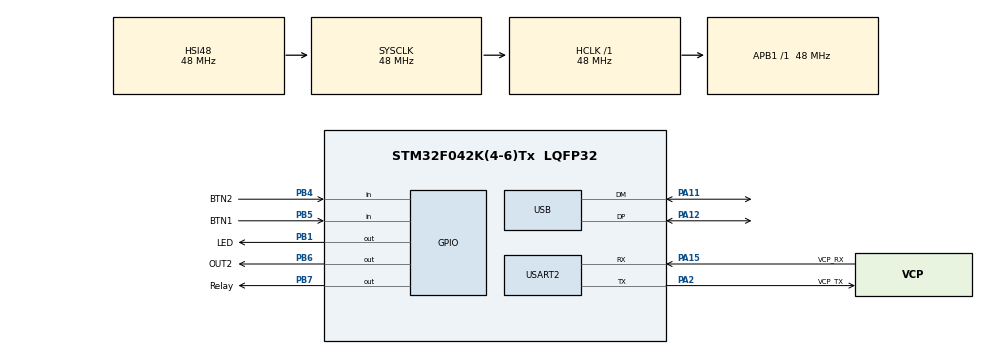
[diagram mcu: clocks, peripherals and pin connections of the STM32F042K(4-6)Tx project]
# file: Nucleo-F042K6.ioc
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Mcu.Family=STM32F0
Mcu.Name=STM32F042K(4-6)Tx
Mcu.Package=LQFP32
NVIC.USB_IRQn=true\:0\:0\:false\:false\:true\:false\:true
PA11.Mode=Device
PA11.Signal=USB_DM
PA12.Mode=Device
PA12.Signal=USB_DP
PA13.GPIO_Label=SWDIO
PA13.Mode=Serial_Wire
PA13.Signal=SYS_SWDIO
PA14.GPIO_Label=SWCLK
PA14.Mode=Serial_Wire
PA14.Signal=SYS_SWCLK
PA15.GPIO_Label=VCP_RX
PA15.Mode=Asynchronous
PA15.Signal=USART2_RX
PA2.GPIO_Label=VCP_TX
PA2.Mode=Asynchronous
PA2.Signal=USART2_TX
PB1.GPIO_Label=LED
PB1.Signal=GPIO_Output
PB4.GPIO_Label=BTN2
PB4.GPIO_PuPd=GPIO_PULLUP
PB4.Signal=GPIO_Input
PB5.GPIO_Label=BTN1
PB5.GPIO_PuPd=GPIO_PULLUP
PB5.Signal=GPIO_Input
PB6.GPIO_Label=OUT2
PB6.GPIO_PuPd=GPIO_PULLDOWN
PB6.Signal=GPIO_Output
PB7.GPIO_Label=Relay
PB7.GPIO_ModeDefaultOutputPP=GPIO_MODE_OUTPUT_PP
PB7.GPIO_PuPd=GPIO_PULLDOWN
PB7.Signal=GPIO_Output
PF0-OSC_IN.GPIO_Label=MCO
PF0-OSC_IN.Mode=HSE-External-Clock-Source
PF0-OSC_IN.Signal=RCC_OSC_IN
ProjectManager.HeapSize=0x200
ProjectManager.StackSize=0x400
ProjectManager.TargetToolchain=MDK-ARM V5.32
RCC.AHBFreq_Value=48000000
RCC.APB1Freq_Value=48000000
RCC.APB1TimFreq_Value=48000000
RCC.HCLKFreq_Value=48000000
RCC.SYSCLKFreq_VALUE=48000000
RCC.SYSCLKSource=RCC_SYSCLKSOURCE_HSI48
USART2.VirtualMode-Asynchronous=VM_ASYNC
USB_DEVICE.CLASS_NAME_FS=HID
USB_DEVICE.VirtualMode=Hid
USB_DEVICE.VirtualModeFS=Hid_FS
VP_USB_DEVICE_VS_USB_DEVICE_HID_FS.Mode=HID_FS
board=NUCLEO-F042K6

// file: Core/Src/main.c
/* USER CODE BEGIN Header */
/**
  ******************************************************************************
  * @file           : main.c
  * @brief          : Main program body
  ******************************************************************************
  * @attention
  *
  * <h2><center>&copy; Copyright (c) 2021 STMicroelectronics.
  * All rights reserved.</center></h2>
  *
  * This software component is licensed by ST under Ultimate Liberty license
  * SLA0044, the "License"; You may not use this file except in compliance with
  * the License. You may obtain a copy of the License at:
  *                             www.st.com/SLA0044
  *
  ******************************************************************************
  */
/* USER CODE END Header */
#include "main.h"
#include "usb_device.h"

/* USER CODE BEGIN Includes */
#include "usbd_hid.h"
/* USER CODE END Includes */

/* USER CODE BEGIN PM */
#define CLICK_REPORT_SIZE 8
uint8_t click_report[CLICK_REPORT_SIZE] = {0};
/* USER CODE END PM */

UART_HandleTypeDef huart2;

void SystemClock_Config(void);
static void MX_GPIO_Init(void);
static void MX_USART2_UART_Init(void);

int main(void)
{
  /* USER CODE BEGIN 1 */
  extern USBD_HandleTypeDef hUsbDeviceFS;
//volatile USBD_HID_HandleTypeDef *hhid;// = (USBD_HID_HandleTypeDef *)hUsbDeviceFS.pClassData;
  int i;
  /* USER CODE END 1 */

  /* MCU Configuration--------------------------------------------------------*/

  /* Reset of all peripherals, Initializes the Flash interface and the Systick. */
  HAL_Init();

  /* Configure the system clock */
  SystemClock_Config();

  /* Initialize all configured peripherals */
  MX_GPIO_Init();
  MX_USART2_UART_Init();
  MX_USB_DEVICE_Init();

  /* Infinite loop */
     /* USER CODE BEGIN WHILE */
  while (1)
  {
		/* Relay off */
    HAL_GPIO_WritePin(Relay_GPIO_Port, Relay_Pin, GPIO_PIN_RESET);

    /* Wait for button press */
    while(HAL_GPIO_ReadPin(GPIOB, BTN1_Pin) == GPIO_PIN_SET){
			HAL_GPIO_TogglePin(LED_GPIO_Port, LED_Pin);
			HAL_Delay(50);
		}
    HAL_GPIO_WritePin(LED_GPIO_Port, LED_Pin, GPIO_PIN_SET);

		/* Send space */
    click_report[2] = 44; // send space keycode
    USBD_HID_SendReport(&hUsbDeviceFS, click_report, CLICK_REPORT_SIZE);

    /* Send null. BUG: for unknown reason, needs to be sent thrice :| */
    click_report[2] = 0;
    i = 3;
    while(i--){
      HAL_Delay(10);
      USBD_HID_SendReport(&hUsbDeviceFS, click_report, CLICK_REPORT_SIZE);
		}

    /* Wait assigned time and switch relay on */
		i = 8;
		while(i--){
			HAL_Delay(500);
			HAL_GPIO_TogglePin(LED_GPIO_Port, LED_Pin);
    }
    HAL_GPIO_WritePin(Relay_GPIO_Port, Relay_Pin, GPIO_PIN_SET);

    /* Wait some other time and switch relay off */
    HAL_Delay(3000);
    HAL_GPIO_WritePin(Relay_GPIO_Port, Relay_Pin, GPIO_PIN_RESET);

    /* USER CODE END WHILE */

  }
}

void SystemClock_Config(void)
{
  RCC_OscInitTypeDef RCC_OscInitStruct = {0};
  RCC_ClkInitTypeDef RCC_ClkInitStruct = {0};
  RCC_PeriphCLKInitTypeDef PeriphClkInit = {0};

  /** Initializes the RCC Oscillators according to the specified parameters
  * in the RCC_OscInitTypeDef structure.
  */
  RCC_OscInitStruct.OscillatorType = RCC_OSCILLATORTYPE_HSI48;
  RCC_OscInitStruct.HSI48State = RCC_HSI48_ON;
  RCC_OscInitStruct.PLL.PLLState = RCC_PLL_NONE;
  if (HAL_RCC_OscConfig(&RCC_OscInitStruct) != HAL_OK)
  {
    Error_Handler();
  }
  /** Initializes the CPU, AHB and APB buses clocks
  */
  RCC_ClkInitStruct.ClockType = RCC_CLOCKTYPE_HCLK|RCC_CLOCKTYPE_SYSCLK
                              |RCC_CLOCKTYPE_PCLK1;
  RCC_ClkInitStruct.SYSCLKSource = RCC_SYSCLKSOURCE_HSI48;
  RCC_ClkInitStruct.AHBCLKDivider = RCC_SYSCLK_DIV1;
  RCC_ClkInitStruct.APB1CLKDivider = RCC_HCLK_DIV1;

  if (HAL_RCC_ClockConfig(&RCC_ClkInitStruct, FLASH_LATENCY_1) != HAL_OK)
  {
    Error_Handler();
  }
  PeriphClkInit.PeriphClockSelection = RCC_PERIPHCLK_USB;
  PeriphClkInit.UsbClockSelection = RCC_USBCLKSOURCE_HSI48;

  if (HAL_RCCEx_PeriphCLKConfig(&PeriphClkInit) != HAL_OK)
  {
    Error_Handler();
  }
}

static void MX_USART2_UART_Init(void)
{

  huart2.Instance = USART2;
  huart2.Init.BaudRate = 38400;
  huart2.Init.WordLength = UART_WORDLENGTH_8B;
  huart2.Init.StopBits = UART_STOPBITS_1;
  huart2.Init.Parity = UART_PARITY_NONE;
  huart2.Init.Mode = UART_MODE_TX_RX;
  huart2.Init.HwFlowCtl = UART_HWCONTROL_NONE;
  huart2.Init.OverSampling = UART_OVERSAMPLING_16;
  huart2.Init.OneBitSampling = UART_ONE_BIT_SAMPLE_DISABLE;
  huart2.AdvancedInit.AdvFeatureInit = UART_ADVFEATURE_NO_INIT;
  if (HAL_UART_Init(&huart2) != HAL_OK)
  {
    Error_Handler();
  }

}

static void MX_GPIO_Init(void)
{
  GPIO_InitTypeDef GPIO_InitStruct = {0};

  /* GPIO Ports Clock Enable */
  __HAL_RCC_GPIOF_CLK_ENABLE();
  __HAL_RCC_GPIOA_CLK_ENABLE();
  __HAL_RCC_GPIOB_CLK_ENABLE();

  /*Configure GPIO pin Output Level */
  HAL_GPIO_WritePin(GPIOB, LED_Pin|OUT2_Pin|Relay_Pin, GPIO_PIN_RESET);

  /*Configure GPIO pin : LED_Pin */
  GPIO_InitStruct.Pin = LED_Pin;
  GPIO_InitStruct.Mode = GPIO_MODE_OUTPUT_PP;
  GPIO_InitStruct.Pull = GPIO_NOPULL;
  GPIO_InitStruct.Speed = GPIO_SPEED_FREQ_LOW;
  HAL_GPIO_Init(LED_GPIO_Port, &GPIO_InitStruct);

  /*Configure GPIO pins : BTN2_Pin BTN1_Pin */
  GPIO_InitStruct.Pin = BTN2_Pin|BTN1_Pin;
  GPIO_InitStruct.Mode = GPIO_MODE_INPUT;
  GPIO_InitStruct.Pull = GPIO_PULLUP;
  HAL_GPIO_Init(GPIOB, &GPIO_InitStruct);

  /*Configure GPIO pins : OUT2_Pin Relay_Pin */
  GPIO_InitStruct.Pin = OUT2_Pin|Relay_Pin;
  GPIO_InitStruct.Mode = GPIO_MODE_OUTPUT_PP;
  GPIO_InitStruct.Pull = GPIO_PULLDOWN;
  GPIO_InitStruct.Speed = GPIO_SPEED_FREQ_LOW;
  HAL_GPIO_Init(GPIOB, &GPIO_InitStruct);

}

void Error_Handler(void)
{
  __disable_irq();
  while (1)
  {
  }
}

/************************ (C) COPYRIGHT STMicroelectronics *****END OF FILE****/
